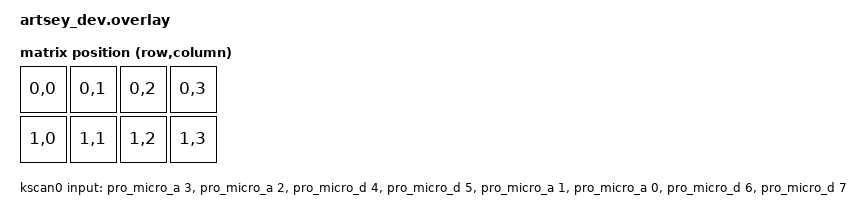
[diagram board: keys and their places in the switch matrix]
/*
 * Copyright (c) 2020 The ZMK Contributors
 *
 * SPDX-License-Identifier: MIT
 */

#include <dt-bindings/zmk/matrix_transform.h>

/ {
	kscan0: kscan {
		compatible = "zmk,kscan-gpio-direct";

		label = "KSCAN";

		input-gpios
			= <&pro_micro_a 3 (GPIO_ACTIVE_LOW | GPIO_PULL_UP)>
			, <&pro_micro_a 2 (GPIO_ACTIVE_LOW | GPIO_PULL_UP)>
			, <&pro_micro_d 4 (GPIO_ACTIVE_LOW | GPIO_PULL_UP)>
			, <&pro_micro_d 5 (GPIO_ACTIVE_LOW | GPIO_PULL_UP)>
			, <&pro_micro_a 1 (GPIO_ACTIVE_LOW | GPIO_PULL_UP)>
			, <&pro_micro_a 0 (GPIO_ACTIVE_LOW | GPIO_PULL_UP)>
			, <&pro_micro_d 6 (GPIO_ACTIVE_LOW | GPIO_PULL_UP)>
			, <&pro_micro_d 7 (GPIO_ACTIVE_LOW | GPIO_PULL_UP)>
			;
	};

	default_transform: keymap_transform_0 {
		compatible = "zmk,matrix-transform";
		columns = <4>;
		rows = <2>;

		map = <
			RC(0,0) RC(0,1) RC(0,2) RC(0,3)
			RC(1,0) RC(1,1) RC(1,2) RC(1,3)
		>;
	};

	chosen {
		zmk,kscan = &kscan0;
		zmk,matrix_transform = &default_transform;
	};
};
